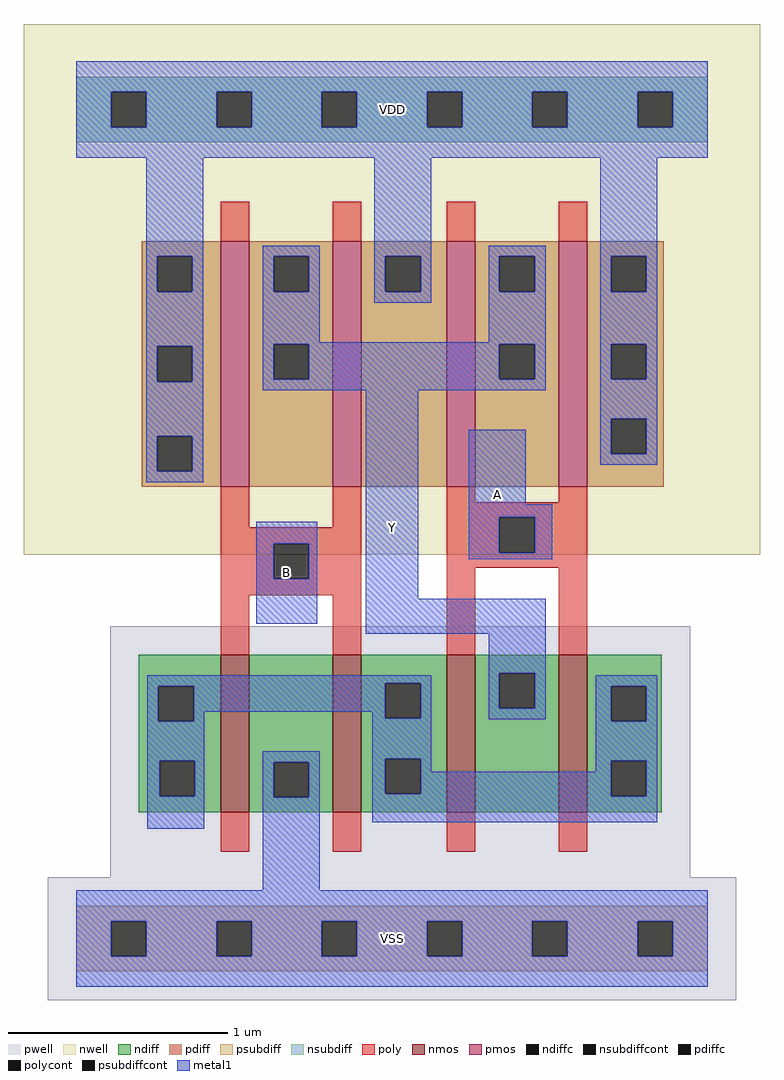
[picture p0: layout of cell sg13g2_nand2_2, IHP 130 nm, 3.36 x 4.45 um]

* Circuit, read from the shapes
.subckt sg13g2_nand2_2 Y VDD A VSS B
XM1 VSS B n1 VSS sg13_lv_nmos w=0.72u l=0.13u m=2
XM2 Y A n1 VSS sg13_lv_nmos w=0.72u l=0.13u m=2
XM3 Y B VDD VDD sg13_lv_pmos w=1.12u l=0.13u m=2
XM4 Y A VDD VDD sg13_lv_pmos w=1.12u l=0.13u m=2
.ends

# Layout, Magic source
magic
tech ihp-sg13g2
magscale 1 2
<< nwell >>
rect -48 350 624 834
<< pwell >>
rect 31 56 560 285
rect -26 -56 602 56
<< nmos >>
rect 132 115 158 259
rect 234 115 260 259
rect 338 115 364 259
rect 440 115 466 259
<< pmos >>
rect 132 412 158 636
rect 234 412 260 636
rect 338 412 364 636
rect 440 412 466 636
<< ndiff >>
rect 57 230 132 259
rect 57 198 75 230
rect 107 198 132 230
rect 57 162 132 198
rect 57 130 76 162
rect 108 130 132 162
rect 57 115 132 130
rect 158 161 234 259
rect 158 129 180 161
rect 212 129 234 161
rect 158 115 234 129
rect 260 233 338 259
rect 260 201 282 233
rect 314 201 338 233
rect 260 164 338 201
rect 260 132 282 164
rect 314 132 338 164
rect 260 115 338 132
rect 364 242 440 259
rect 364 210 386 242
rect 418 210 440 242
rect 364 115 440 210
rect 466 230 534 259
rect 466 198 488 230
rect 520 198 534 230
rect 466 162 534 198
rect 466 130 488 162
rect 520 130 534 162
rect 466 115 534 130
<< pdiff >>
rect 60 622 132 636
rect 60 590 74 622
rect 106 590 132 622
rect 60 540 132 590
rect 60 508 74 540
rect 106 508 132 540
rect 60 458 132 508
rect 60 426 74 458
rect 106 426 132 458
rect 60 412 132 426
rect 158 622 234 636
rect 158 590 180 622
rect 212 590 234 622
rect 158 542 234 590
rect 158 510 180 542
rect 212 510 234 542
rect 158 412 234 510
rect 260 622 338 636
rect 260 590 282 622
rect 314 590 338 622
rect 260 412 338 590
rect 364 622 440 636
rect 364 590 386 622
rect 418 590 440 622
rect 364 542 440 590
rect 364 510 386 542
rect 418 510 440 542
rect 364 412 440 510
rect 466 622 536 636
rect 466 590 488 622
rect 520 590 536 622
rect 466 542 536 590
rect 466 510 488 542
rect 520 510 536 542
rect 466 474 536 510
rect 466 442 488 474
rect 520 442 536 474
rect 466 412 536 442
<< ndiffc >>
rect 75 198 107 230
rect 76 130 108 162
rect 180 129 212 161
rect 282 201 314 233
rect 282 132 314 164
rect 386 210 418 242
rect 488 198 520 230
rect 488 130 520 162
<< pdiffc >>
rect 74 590 106 622
rect 74 508 106 540
rect 74 426 106 458
rect 180 590 212 622
rect 180 510 212 542
rect 282 590 314 622
rect 386 590 418 622
rect 386 510 418 542
rect 488 590 520 622
rect 488 510 520 542
rect 488 442 520 474
<< psubdiff >>
rect 0 16 576 30
rect 0 -16 32 16
rect 64 -16 128 16
rect 160 -16 224 16
rect 256 -16 320 16
rect 352 -16 416 16
rect 448 -16 512 16
rect 544 -16 576 16
rect 0 -30 576 -16
<< nsubdiff >>
rect 0 772 576 786
rect 0 740 32 772
rect 64 740 128 772
rect 160 740 224 772
rect 256 740 320 772
rect 352 740 416 772
rect 448 740 512 772
rect 544 740 576 772
rect 0 726 576 740
<< psubdiffcont >>
rect 32 -16 64 16
rect 128 -16 160 16
rect 224 -16 256 16
rect 320 -16 352 16
rect 416 -16 448 16
rect 512 -16 544 16
<< nsubdiffcont >>
rect 32 740 64 772
rect 128 740 160 772
rect 224 740 256 772
rect 320 740 352 772
rect 416 740 448 772
rect 512 740 544 772
<< poly >>
rect 132 636 158 672
rect 234 636 260 672
rect 338 636 364 672
rect 440 636 466 672
rect 132 375 158 412
rect 234 375 260 412
rect 132 360 260 375
rect 132 328 180 360
rect 212 328 260 360
rect 132 313 260 328
rect 132 259 158 313
rect 234 259 260 313
rect 338 398 364 412
rect 440 398 466 412
rect 338 384 466 398
rect 338 352 386 384
rect 418 352 466 384
rect 338 338 466 352
rect 338 259 364 338
rect 440 259 466 338
rect 132 79 158 115
rect 234 79 260 115
rect 338 79 364 115
rect 440 79 466 115
<< polycont >>
rect 180 328 212 360
rect 386 352 418 384
<< metal1 >>
rect 0 772 576 800
rect 0 740 32 772
rect 64 740 128 772
rect 160 740 224 772
rect 256 740 320 772
rect 352 740 416 772
rect 448 740 512 772
rect 544 740 576 772
rect 0 712 576 740
rect 64 622 116 712
rect 64 590 74 622
rect 106 590 116 622
rect 64 540 116 590
rect 64 508 74 540
rect 106 508 116 540
rect 64 458 116 508
rect 170 622 222 632
rect 170 590 180 622
rect 212 590 222 622
rect 170 544 222 590
rect 272 622 324 712
rect 272 590 282 622
rect 314 590 324 622
rect 272 580 324 590
rect 376 622 428 632
rect 376 590 386 622
rect 418 590 428 622
rect 376 544 428 590
rect 170 542 428 544
rect 170 510 180 542
rect 212 510 386 542
rect 418 510 428 542
rect 170 500 428 510
rect 478 622 530 712
rect 478 590 488 622
rect 520 590 530 622
rect 478 542 530 590
rect 478 510 488 542
rect 520 510 530 542
rect 64 426 74 458
rect 106 426 116 458
rect 64 416 116 426
rect 164 360 220 380
rect 164 328 180 360
rect 212 328 220 360
rect 164 287 220 328
rect 264 310 312 500
rect 478 474 530 510
rect 358 396 410 464
rect 478 442 488 474
rect 520 442 530 474
rect 478 432 530 442
rect 358 384 434 396
rect 358 352 386 384
rect 418 352 434 384
rect 358 346 434 352
rect 264 278 428 310
rect 376 242 428 278
rect 65 233 324 240
rect 65 230 282 233
rect 65 198 75 230
rect 107 207 282 230
rect 107 198 117 207
rect 65 162 117 198
rect 270 201 282 207
rect 314 201 324 233
rect 65 130 76 162
rect 108 130 117 162
rect 65 100 117 130
rect 170 161 222 171
rect 170 129 180 161
rect 212 129 222 161
rect 170 44 222 129
rect 270 164 324 201
rect 376 210 386 242
rect 418 210 428 242
rect 376 200 428 210
rect 474 230 530 240
rect 270 132 282 164
rect 314 152 324 164
rect 474 198 488 230
rect 520 198 530 230
rect 474 162 530 198
rect 474 152 488 162
rect 314 132 488 152
rect 270 130 488 132
rect 520 130 530 162
rect 270 106 530 130
rect 0 16 576 44
rect 0 -16 32 16
rect 64 -16 128 16
rect 160 -16 224 16
rect 256 -16 320 16
rect 352 -16 416 16
rect 448 -16 512 16
rect 544 -16 576 16
rect 0 -44 576 -16
<< labels >>
flabel metal1 s 264 278 312 472 0 FreeSans 400 0 0 0 Y
port 2 nsew
flabel metal1 s 0 712 576 800 0 FreeSans 400 0 0 0 VDD
port 3 nsew
flabel metal1 s 358 346 410 464 0 FreeSans 400 0 0 0 A
port 4 nsew
flabel metal1 s 0 -44 576 44 0 FreeSans 400 0 0 0 VSS
port 5 nsew
flabel metal1 s 164 287 220 380 0 FreeSans 400 0 0 0 B
port 6 nsew
<< properties >>
string FIXED_BBOX 0 0 576 756
string GDS_END 197062
string GDS_FILE 6_final.gds
string GDS_START 192320
<< end >>
